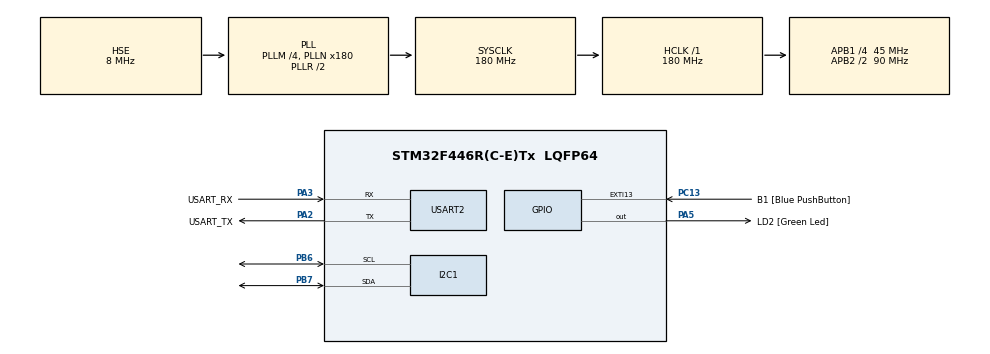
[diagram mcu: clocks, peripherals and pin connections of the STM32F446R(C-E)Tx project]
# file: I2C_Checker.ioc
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Mcu.Family=STM32F4
Mcu.Name=STM32F446R(C-E)Tx
Mcu.Package=LQFP64
NVIC.PriorityGroup=NVIC_PRIORITYGROUP_0
PA13.GPIO_Label=TMS
PA13.Mode=Serial_Wire
PA13.Signal=SYS_JTMS-SWDIO
PA14.GPIO_Label=TCK
PA14.Mode=Serial_Wire
PA14.Signal=SYS_JTCK-SWCLK
PA2.GPIO_Label=USART_TX
PA2.Mode=Asynchronous
PA2.Signal=USART2_TX
PA3.GPIO_Label=USART_RX
PA3.Mode=Asynchronous
PA3.Signal=USART2_RX
PA5.GPIO_Label=LD2 [Green Led]
PA5.Signal=GPIO_Output
PB3.GPIO_Label=SWO
PB3.Signal=SYS_JTDO-SWO
PB6.Mode=I2C
PB6.Signal=I2C1_SCL
PB7.Mode=I2C
PB7.Signal=I2C1_SDA
PC13.GPIO_Label=B1 [Blue PushButton]
PC13.GPIO_ModeDefaultEXTI=GPIO_MODE_IT_FALLING
PC13.Signal=GPXTI13
PC14-OSC32_IN.Mode=LSE-External-Oscillator
PC14-OSC32_IN.Signal=RCC_OSC32_IN
PC15-OSC32_OUT.Mode=LSE-External-Oscillator
PC15-OSC32_OUT.Signal=RCC_OSC32_OUT
PH0-OSC_IN.Mode=HSE-External-Oscillator
PH0-OSC_IN.Signal=RCC_OSC_IN
PH1-OSC_OUT.Mode=HSE-External-Oscillator
PH1-OSC_OUT.Signal=RCC_OSC_OUT
ProjectManager.HeapSize=0x200
ProjectManager.StackSize=0x400
ProjectManager.TargetToolchain=STM32CubeIDE
RCC.48MHZClocksFreq_Value=84000000
RCC.AHBFreq_Value=180000000
RCC.APB1CLKDivider=RCC_HCLK_DIV4
RCC.APB1Freq_Value=45000000
RCC.APB1TimFreq_Value=90000000
RCC.APB2CLKDivider=RCC_HCLK_DIV2
RCC.APB2Freq_Value=90000000
RCC.APB2TimFreq_Value=180000000
RCC.CortexFreq_Value=180000000
RCC.FLatency-AdvancedSettings=FLASH_LATENCY_5
RCC.HCLKFreq_Value=180000000
RCC.HSE_VALUE=8000000
RCC.HSI_VALUE=16000000
RCC.PLLM=4
RCC.PLLN=180
RCC.PLLSourceVirtual=RCC_PLLSOURCE_HSE
RCC.SYSCLKFreq_VALUE=180000000
RCC.SYSCLKSource=RCC_SYSCLKSOURCE_PLLRCLK
RCC.USBFreq_Value=180000000
RCC.VCOOutputFreq_Value=360000000
USART2.VirtualMode=VM_ASYNC
board=NUCLEO-F446RE

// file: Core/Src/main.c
/* USER CODE BEGIN Header */
/**
  ******************************************************************************
  * @file           : main.c
  * @brief          : Main program body
  ******************************************************************************
  * @attention
  *
  * Copyright (c) 2024 STMicroelectronics.
  * All rights reserved.
  *
  * This software is licensed under terms that can be found in the LICENSE file
  * in the root directory of this software component.
  * If no LICENSE file comes with this software, it is provided AS-IS.
  *
  ******************************************************************************
  */
/* USER CODE END Header */
#include "main.h"

/* USER CODE BEGIN Includes */
#include "I2Cdev.h"
#include "stdbool.h"
#include "stdio.h"
/* USER CODE END Includes */

I2C_HandleTypeDef hi2c1;

UART_HandleTypeDef huart2;

void SystemClock_Config(void);
static void MX_GPIO_Init(void);
static void MX_USART2_UART_Init(void);
static void MX_I2C1_Init(void);

/* USER CODE BEGIN 0 */

#define device_ADDRESS 0x68  // Define the I2C address of the device .
#define WHO_AM_I_REGISTER 0x75  // Define the WHO_AM_I register address, used to identify the device.

bool check_connection(void) // Function to check the connection to the device via I2C.
{
    uint8_t who_am_i[1] = {0}; // Declare an array to store the value read from the WHO_AM_I register. Initialize it to 0.
    HAL_StatusTypeDef status;  // Variable to store the status of the I2C communication.

    // Read 1 byte from the WHO_AM_I register of the device with a timeout of 10 ms.
    status = I2Cdev_readBytes(device_ADDRESS, WHO_AM_I_REGISTER, 1, who_am_i, 10);

    // Check if the I2C read operation was successful.
    if (status == HAL_OK) // HAL_OK indicates a successful communication. Alternatively, it could check if the returned value is 1, the expected number of bytes read.
    {
        // Print the value read from the WHO_AM_I register in hexadecimal format.
        printf("WHO_AM_I register: 0x%02X\r\n", who_am_i[0]);

        // Check if the WHO_AM_I value matches the expected value for the device (0x68 for MPU6050).
        if (who_am_i[0] == 0x68) {
            // If the value matches, the device is successfully connected.
            printf("Device successfully connected.\r\n");
        } else {
            // If the value does not match, print the unexpected WHO_AM_I value and indicate a problem.
            printf("Unexpected device found! WHO_AM_I = 0x%02X\r\n", who_am_i[0]);
            return false; // Return false as the device identification failed.
        }
    }
    else
    {
        // If the I2C read operation failed, print an error message.
        printf("Failed to read from Device!\r\n");
        return false; // Return false as the device could not be read.
    }
    return true; // Return true if the device is successfully connected and identified.
}

/* USER CODE END 0 */

int main(void)
{

  /* MCU Configuration--------------------------------------------------------*/

  /* Reset of all peripherals, Initializes the Flash interface and the Systick. */
  HAL_Init();

  /* Configure the system clock */
  SystemClock_Config();

  /* Initialize all configured peripherals */
  MX_GPIO_Init();
  MX_USART2_UART_Init();
  MX_I2C1_Init();

  /* Infinite loop */
  /* USER CODE BEGIN WHILE */
  while (1)
  {
	  check_connection();
    /* USER CODE END WHILE */

  }
}

void SystemClock_Config(void)
{
  RCC_OscInitTypeDef RCC_OscInitStruct = {0};
  RCC_ClkInitTypeDef RCC_ClkInitStruct = {0};

  /** Configure the main internal regulator output voltage
  */
  __HAL_RCC_PWR_CLK_ENABLE();
  __HAL_PWR_VOLTAGESCALING_CONFIG(PWR_REGULATOR_VOLTAGE_SCALE1);

  /** Initializes the RCC Oscillators according to the specified parameters
  * in the RCC_OscInitTypeDef structure.
  */
  RCC_OscInitStruct.OscillatorType = RCC_OSCILLATORTYPE_HSE;
  RCC_OscInitStruct.HSEState = RCC_HSE_ON;
  RCC_OscInitStruct.PLL.PLLState = RCC_PLL_ON;
  RCC_OscInitStruct.PLL.PLLSource = RCC_PLLSOURCE_HSE;
  RCC_OscInitStruct.PLL.PLLM = 4;
  RCC_OscInitStruct.PLL.PLLN = 180;
  RCC_OscInitStruct.PLL.PLLP = RCC_PLLP_DIV2;
  RCC_OscInitStruct.PLL.PLLQ = 2;
  RCC_OscInitStruct.PLL.PLLR = 2;
  if (HAL_RCC_OscConfig(&RCC_OscInitStruct) != HAL_OK)
  {
    Error_Handler();
  }

  /** Activate the Over-Drive mode
  */
  if (HAL_PWREx_EnableOverDrive() != HAL_OK)
  {
    Error_Handler();
  }

  /** Initializes the CPU, AHB and APB buses clocks
  */
  RCC_ClkInitStruct.ClockType = RCC_CLOCKTYPE_HCLK|RCC_CLOCKTYPE_SYSCLK
                              |RCC_CLOCKTYPE_PCLK1|RCC_CLOCKTYPE_PCLK2;
  RCC_ClkInitStruct.SYSCLKSource = RCC_SYSCLKSOURCE_PLLRCLK;
  RCC_ClkInitStruct.AHBCLKDivider = RCC_SYSCLK_DIV1;
  RCC_ClkInitStruct.APB1CLKDivider = RCC_HCLK_DIV4;
  RCC_ClkInitStruct.APB2CLKDivider = RCC_HCLK_DIV2;

  if (HAL_RCC_ClockConfig(&RCC_ClkInitStruct, FLASH_LATENCY_5) != HAL_OK)
  {
    Error_Handler();
  }
}

static void MX_I2C1_Init(void)
{

  hi2c1.Instance = I2C1;
  hi2c1.Init.ClockSpeed = 100000;
  hi2c1.Init.DutyCycle = I2C_DUTYCYCLE_2;
  hi2c1.Init.OwnAddress1 = 0;
  hi2c1.Init.AddressingMode = I2C_ADDRESSINGMODE_7BIT;
  hi2c1.Init.DualAddressMode = I2C_DUALADDRESS_DISABLE;
  hi2c1.Init.OwnAddress2 = 0;
  hi2c1.Init.GeneralCallMode = I2C_GENERALCALL_DISABLE;
  hi2c1.Init.NoStretchMode = I2C_NOSTRETCH_DISABLE;
  if (HAL_I2C_Init(&hi2c1) != HAL_OK)
  {
    Error_Handler();
  }

}

static void MX_USART2_UART_Init(void)
{

  huart2.Instance = USART2;
  huart2.Init.BaudRate = 115200;
  huart2.Init.WordLength = UART_WORDLENGTH_8B;
  huart2.Init.StopBits = UART_STOPBITS_1;
  huart2.Init.Parity = UART_PARITY_NONE;
  huart2.Init.Mode = UART_MODE_TX_RX;
  huart2.Init.HwFlowCtl = UART_HWCONTROL_NONE;
  huart2.Init.OverSampling = UART_OVERSAMPLING_16;
  if (HAL_UART_Init(&huart2) != HAL_OK)
  {
    Error_Handler();
  }

}

static void MX_GPIO_Init(void)
{
  GPIO_InitTypeDef GPIO_InitStruct = {0};

  /* GPIO Ports Clock Enable */
  __HAL_RCC_GPIOC_CLK_ENABLE();
  __HAL_RCC_GPIOH_CLK_ENABLE();
  __HAL_RCC_GPIOA_CLK_ENABLE();
  __HAL_RCC_GPIOB_CLK_ENABLE();

  /*Configure GPIO pin Output Level */
  HAL_GPIO_WritePin(LD2_GPIO_Port, LD2_Pin, GPIO_PIN_RESET);

  /*Configure GPIO pin : B1_Pin */
  GPIO_InitStruct.Pin = B1_Pin;
  GPIO_InitStruct.Mode = GPIO_MODE_IT_FALLING;
  GPIO_InitStruct.Pull = GPIO_NOPULL;
  HAL_GPIO_Init(B1_GPIO_Port, &GPIO_InitStruct);

  /*Configure GPIO pin : LD2_Pin */
  GPIO_InitStruct.Pin = LD2_Pin;
  GPIO_InitStruct.Mode = GPIO_MODE_OUTPUT_PP;
  GPIO_InitStruct.Pull = GPIO_NOPULL;
  GPIO_InitStruct.Speed = GPIO_SPEED_FREQ_LOW;
  HAL_GPIO_Init(LD2_GPIO_Port, &GPIO_InitStruct);

}

void Error_Handler(void)
{
  __disable_irq();
  while (1)
  {
  }
}
